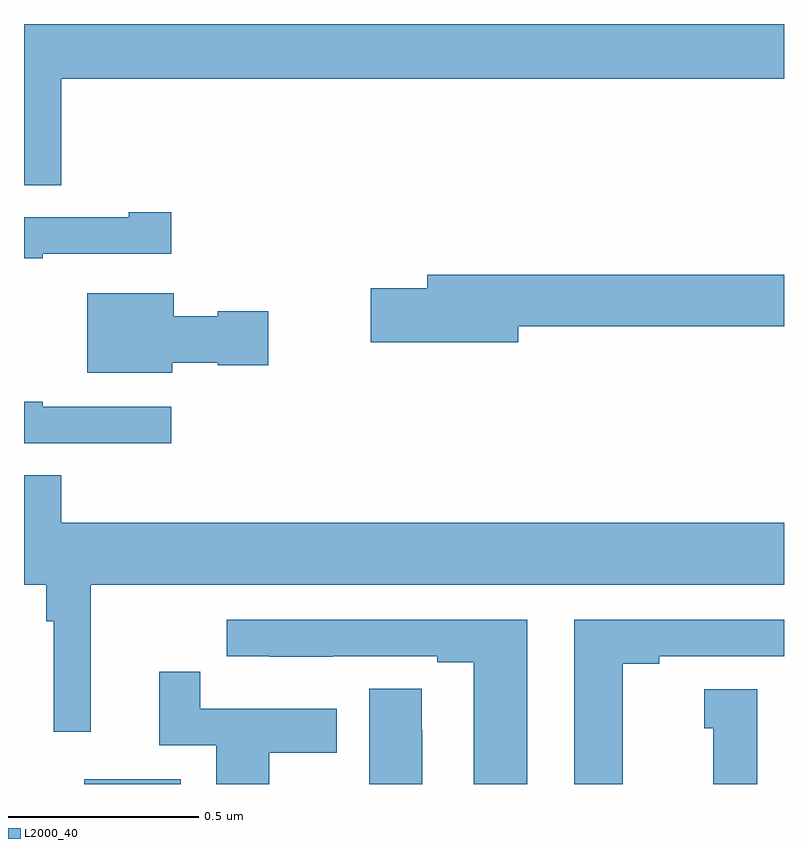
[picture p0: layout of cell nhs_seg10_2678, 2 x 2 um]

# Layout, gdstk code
import gdstk
lib = gdstk.Library(unit=1e-6, precision=1e-09)
def R(c, l, rs):  # rectangles x0, y0, x1, y1
    for r in rs: c.add(gdstk.rectangle(r[:2], r[2:], *l))
def P(c, l, *ps):  # polygons
    for p in ps: c.add(gdstk.Polygon(p, *l))
L2000_40 = (2000, 40)

nhs_seg10_2678 = lib.new_cell('nhs_seg10_2678')
R(nhs_seg10_2678, L2000_40, [(144.158,1258.5,144.412,1258.513)])
P(nhs_seg10_2678, L2000_40, [(144.098,1260.356),(146,1260.356),(146,1260.5),(144,1260.5),(144,1260.076),(144.098,1260.076)],
  [(144.049,1259.895),(144.388,1259.895),(144.388,1260.004),(144.275,1260.004),(144.275,1259.991),(144,1259.991),(144,1259.883),(144.049,1259.883)],
  [(145.3,1259.704),(146,1259.704),(146,1259.84),(145.061,1259.84),(145.061,1259.804),(144.912,1259.804),(144.912,1259.662),(145.3,1259.662)],
  [(144.39,1259.609),(144.51,1259.609),(144.51,1259.602),(144.643,1259.602),(144.643,1259.744),(144.51,1259.744),(144.51,1259.731),(144.394,1259.731),(144.394,1259.791),(144.167,1259.791),(144.167,1259.582),(144.39,1259.582)],
  [(144.388,1259.493),(144.049,1259.493),(144.049,1259.506),(144,1259.506),(144,1259.397),(144.388,1259.397)],
  [(144.176,1259.024),(146,1259.024),(146,1259.188),(144.098,1259.188),(144.098,1259.312),(144,1259.312),(144,1259.024),(144.058,1259.024),(144.058,1258.928),(144.078,1258.928),(144.078,1258.638),(144.176,1258.638)],
  [(145.324,1258.932),(144.534,1258.932),(144.534,1258.836),(144.646,1258.836),(144.646,1258.835),(144.812,1258.835),(144.812,1258.836),(145.088,1258.836),(145.088,1258.821),(145.184,1258.821),(145.184,1258.5),(145.324,1258.5)],
  [(145.576,1258.816),(145.672,1258.816),(145.672,1258.836),(146,1258.836),(146,1258.932),(145.448,1258.932),(145.448,1258.5),(145.576,1258.5)],
  [(144.646,1258.582),(144.823,1258.582),(144.823,1258.698),(144.464,1258.698),(144.464,1258.795),(144.356,1258.795),(144.356,1258.602),(144.506,1258.602),(144.506,1258.5),(144.646,1258.5)],
  [(145.048,1258.643),(145.047,1258.643),(145.047,1258.751),(144.908,1258.751),(144.908,1258.5),(145.048,1258.5)],
  [(145.93,1258.75),(145.79,1258.75),(145.79,1258.647),(145.814,1258.647),(145.814,1258.5),(145.93,1258.5)])

lib.write_gds('nhs_seg10_2678.gds')
